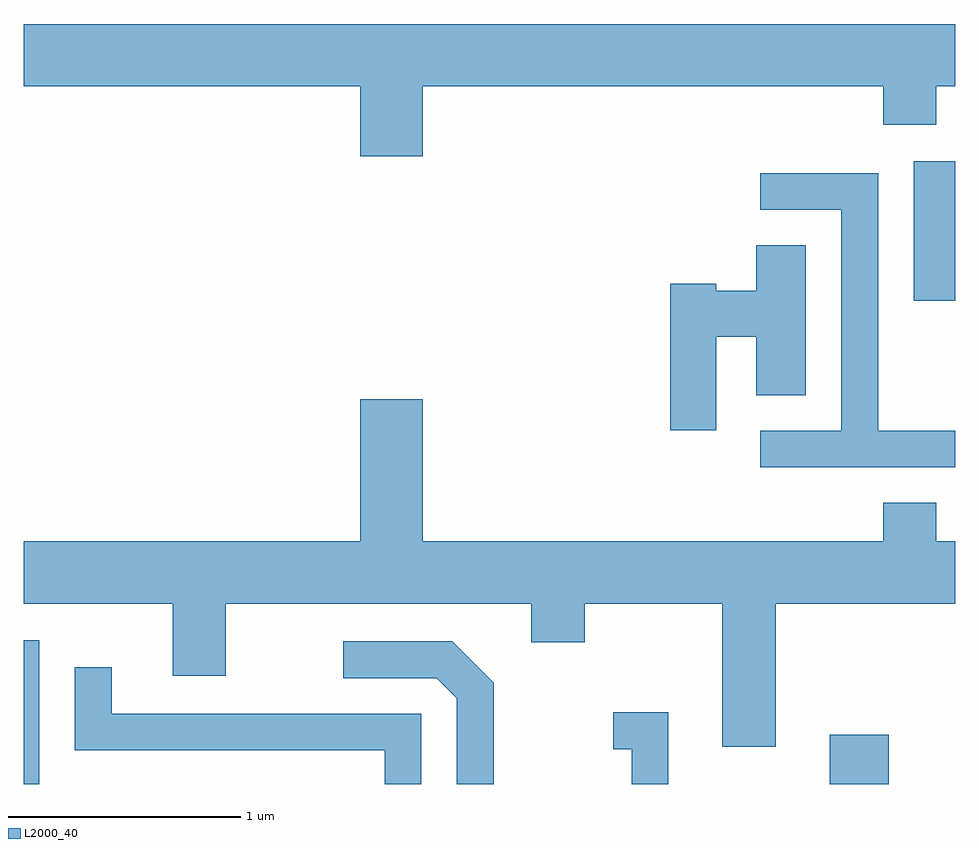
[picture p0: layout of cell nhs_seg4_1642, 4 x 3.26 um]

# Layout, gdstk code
import gdstk
lib = gdstk.Library(unit=1e-6, precision=1e-09)
def R(c, l, rs):  # rectangles x0, y0, x1, y1
    for r in rs: c.add(gdstk.rectangle(r[:2], r[2:], *l))
def P(c, l, *ps):  # polygons
    for p in ps: c.add(gdstk.Polygon(p, *l))
L2000_40 = (2000, 40)

nhs_seg4_1642 = lib.new_cell('nhs_seg4_1642')
R(nhs_seg4_1642, L2000_40, [(233.611,1273.982,233.679,1274.599), (237.071,1273.982,237.324,1274.194), (237.431,1276.056,237.611,1276.654)])
P(nhs_seg4_1642, L2000_40, [(235.324,1276.976),(237.301,1276.976),(237.301,1276.811),(237.529,1276.811),(237.529,1276.976),(237.611,1276.976),(237.611,1277.244),(233.611,1277.244),(233.611,1276.976),(235.056,1276.976),(235.056,1276.676),(235.324,1276.676)],
  [(237.611,1275.499),(237.279,1275.499),(237.279,1276.604),(236.773,1276.604),(236.773,1276.446),(237.121,1276.446),(237.121,1275.499),(236.773,1275.499),(236.773,1275.341),(237.611,1275.341)],
  [(236.584,1275.901),(236.756,1275.901),(236.756,1275.651),(236.969,1275.651),(236.969,1276.294),(236.756,1276.294),(236.756,1276.099),(236.584,1276.099),(236.584,1276.129),(236.386,1276.129),(236.386,1275.501),(236.584,1275.501)],
  [(236.839,1274.756),(237.611,1274.756),(237.611,1275.024),(237.529,1275.024),(237.529,1275.189),(237.301,1275.189),(237.301,1275.024),(235.324,1275.024),(235.324,1275.634),(235.056,1275.634),(235.056,1275.024),(233.611,1275.024),(233.611,1274.756),(234.251,1274.756),(234.251,1274.446),(234.479,1274.446),(234.479,1274.756),(235.791,1274.756),(235.791,1274.591),(236.019,1274.591),(236.019,1274.756),(236.611,1274.756),(236.611,1274.141),(236.839,1274.141)],
  [(235.629,1274.417),(235.452,1274.594),(234.983,1274.594),(234.983,1274.436),(235.384,1274.436),(235.471,1274.349),(235.471,1273.982),(235.629,1273.982)],
  [(235.319,1274.284),(233.989,1274.284),(233.989,1274.483),(233.831,1274.483),(233.831,1274.126),(235.161,1274.126),(235.161,1273.982),(235.319,1273.982)],
  [(236.379,1274.289),(236.143,1274.289),(236.143,1274.131),(236.221,1274.131),(236.221,1273.982),(236.379,1273.982)])

lib.write_gds('nhs_seg4_1642.gds')
